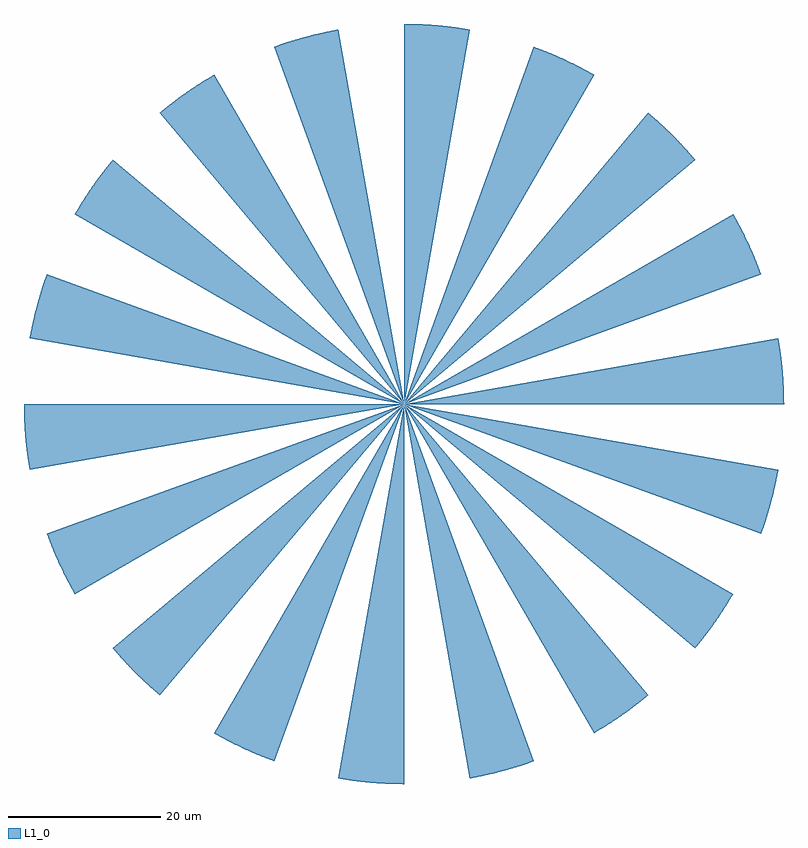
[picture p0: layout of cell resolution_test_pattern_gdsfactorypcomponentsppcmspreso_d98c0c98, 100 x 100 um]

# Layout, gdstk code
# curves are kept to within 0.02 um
import gdstk
lib = gdstk.Library(unit=1e-6, precision=1e-09)
def P(c, l, *ps):  # polygons
    for p in ps: c.add(gdstk.Polygon(p, *l))
L1_0 = (1, 0)

resolution_test_pattern_ = lib.new_cell('resolution_test_pattern_gdsfactorypcomponentsppcmspreso_d98c0c98')
P(resolution_test_pattern_, L1_0, [(0,0),(49.24,8.682),(49.595,6.355),(49.752,4.978),(49.899,3.184),(49.977,1.523),(50,0)],
  [(0,0),(43.301,25),(44.494,22.811),(45.689,20.312),(46.442,18.525),(46.985,17.101)],
  [(0,0),(32.139,38.302),(34.009,36.653),(35.11,35.599),(36.178,34.513),(37.213,33.395),(38.302,32.139)],
  [(0,0),(17.101,46.985),(18.525,46.442),(20.312,45.689),(22.811,44.494),(25,43.301)],
  [(0,0),(0,50),(1.523,49.977),(3.184,49.899),(4.978,49.752),(6.355,49.595),(8.682,49.24)],
  [(0,0),(-17.101,46.985),(-15.134,47.655),(-13.409,48.169),(-10.991,48.777),(-8.682,49.24)],
  [(0,0),(-32.139,38.302),(-30.63,39.52),(-29.075,40.678),(-27.011,42.076),(-25,43.301)],
  [(0,0),(-43.301,25),(-42.076,27.011),(-40.678,29.075),(-39.52,30.63),(-38.302,32.139)],
  [(0,0),(-49.24,8.682),(-48.777,10.991),(-48.169,13.409),(-47.655,15.134),(-46.985,17.101)],
  [(-49.24,-8.682),(-49.559,-6.629),(-49.804,-4.427),(-49.945,-2.354),(-50,0),(0,0)],
  [(-43.301,-25),(-44.367,-23.057),(-45.345,-21.068),(-46.234,-19.038),(-46.985,-17.101),(0,0)],
  [(-32.139,-38.302),(-33.703,-36.934),(-35.208,-35.502),(-36.747,-33.907),(-38.302,-32.139),(0,0)],
  [(-17.101,-46.985),(-19.038,-46.234),(-21.068,-45.345),(-23.057,-44.367),(-25,-43.301),(0,0)],
  [(-0.139,-50),(-2.354,-49.945),(-4.427,-49.804),(-6.629,-49.559),(-8.682,-49.24),(0,0),(0,-50)],
  [(8.682,-49.24),(0,0),(17.101,-46.985),(14.87,-47.738),(12.74,-48.35),(10.585,-48.867)],
  [(25,-43.301),(0,0),(32.139,-38.302),(30.411,-39.689),(28.736,-40.918),(26.894,-42.151)],
  [(38.302,-32.139),(0,0),(43.301,-25),(42.151,-26.894),(40.918,-28.736),(39.689,-30.411)],
  [(46.985,-17.101),(0,0),(49.24,-8.682),(48.867,-10.585),(48.35,-12.74),(47.738,-14.87)])

lib.write_gds('resolution_test_pattern_gdsfactorypcomponentsppcmspreso_d98c0c98.gds')
